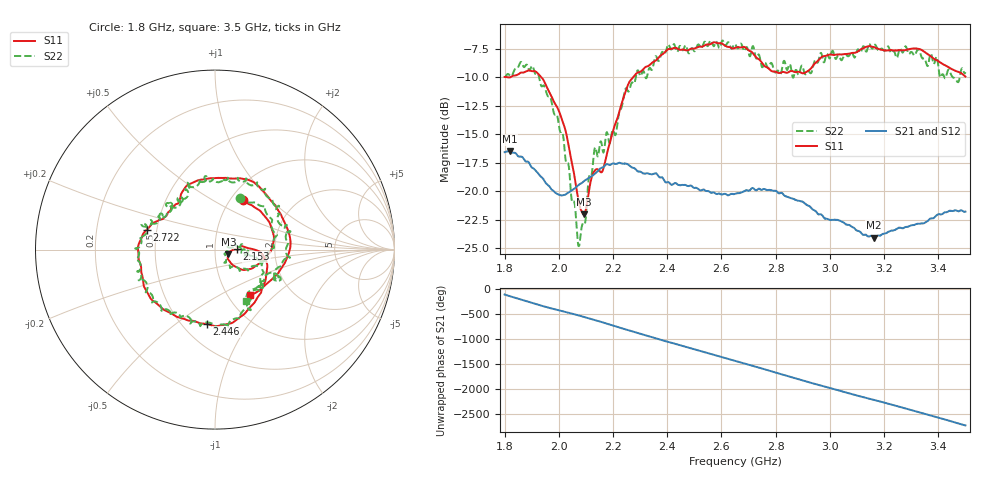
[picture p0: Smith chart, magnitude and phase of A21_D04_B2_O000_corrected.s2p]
! Created with skrf 1.9.0 (http://scikit-rf.org).
# Hz S RI R 50.0
!freq ReS11 ImS11 ReS21 ImS21 ReS12 ImS12 ReS22 ImS22
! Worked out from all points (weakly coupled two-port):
!   1601 points, 1.8 GHz to 3.5 GHz, reference 50 ohm
!   highest |S21| = -16.48 dB at 1.818 GHz (marker M1); lowest = -24.1 dB at 3.162 GHz (marker M2)
!   lowest |S11| = -22.0 dB at 2.091 GHz (marker M3), VSWR 1.17, Z = 57.9 - j3.12 ohm
!   |S11| at or under -10 dB: 1.81 GHz to 1.821 GHz (10.78 MHz wide, 0.594 % of centre); 1.936 GHz to 2.274 GHz (338.8 MHz wide, 16.1 % of centre)
!   |S22| runs from -24.8 to -6.8 dB; largest |S21 - S12| = 0.0025
!   S11 on the Smith chart (normalised r, x): 1.8 GHz: 1.13, +0.70; 2.153 GHz: 1.28, +0.01; 2.446 GHz: 0.65, -0.66; 2.722 GHz: 0.44, +0.12; 3.5 GHz: 1.26, -0.71
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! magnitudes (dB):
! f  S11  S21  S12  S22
! 1.8 GHz  -10.0  -16.6  -16.6  -9.9
! 1.818 GHz  -10.0  -16.5  -16.5  -9.8
! 1.902 GHz  -9.5  -17.9  -17.9  -9.0
! 1.968 GHz  -11.4  -19.7  -19.7  -11.7
! 2.015 GHz  -13.9  -20.4  -20.4  -15.0
! 2.071 GHz  -20.6  -19.5  -19.5  -24.6
! 2.084 GHz  -21.8  -19.3  -19.2  -23.2
! 2.091 GHz  -22.0  -19.1  -19.2  -22.8
! 2.13 GHz  -18.3  -18.5  -18.5  -16.5
! 2.153 GHz  -18.3  -18.0  -18.0  -15.7
! 2.209 GHz  -14.0  -17.6  -17.6  -15.1
! 2.259 GHz  -10.5  -17.7  -17.7  -11.2
! 2.367 GHz  -8.3  -18.7  -18.6  -8.6
! 2.446 GHz  -7.6  -19.5  -19.5  -7.2
! 2.65 GHz  -7.4  -20.2  -20.2  -7.1
! 2.722 GHz  -8.1  -19.8  -19.8  -7.8
! 2.803 GHz  -9.5  -20.0  -20.0  -9.5
! 2.934 GHz  -9.1  -21.5  -21.5  -9.5
! 3.162 GHz  -7.3  -24.1  -24.0  -7.3
! 3.217 GHz  -7.6  -23.5  -23.5  -7.4
! 3.331 GHz  -7.5  -22.9  -22.8  -7.7
! 3.5 GHz  -9.9  -21.8  -21.8  -9.6
